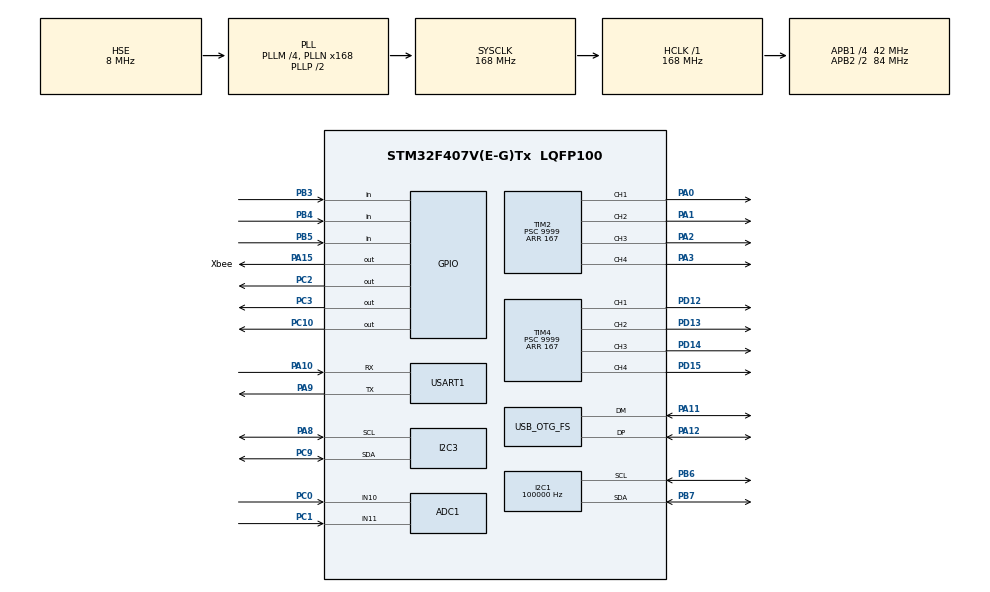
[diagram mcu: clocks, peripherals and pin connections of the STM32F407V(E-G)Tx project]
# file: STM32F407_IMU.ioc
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ADC1.Channel-0\#ChannelRegularConversion=ADC_CHANNEL_10
ADC1.Channel-1\#ChannelRegularConversion=ADC_CHANNEL_11
ADC1.ContinuousConvMode=ENABLE
ADC1.DMAContinuousRequests=ENABLE
ADC1.InjNumberOfConversion=0
ADC1.NbrOfConversion=2
ADC1.NbrOfConversionFlag=1
ADC1.Rank-0\#ChannelRegularConversion=1
ADC1.Rank-1\#ChannelRegularConversion=2
ADC1.SamplingTime-0\#ChannelRegularConversion=ADC_SAMPLETIME_3CYCLES
ADC1.SamplingTime-1\#ChannelRegularConversion=ADC_SAMPLETIME_3CYCLES
ADC1.ScanConvMode=ENABLE
ADC1.master=1
Dma.ADC1.0.Direction=DMA_PERIPH_TO_MEMORY
Dma.ADC1.0.FIFOMode=DMA_FIFOMODE_DISABLE
Dma.ADC1.0.Instance=DMA2_Stream0
Dma.ADC1.0.MemDataAlignment=DMA_MDATAALIGN_HALFWORD
Dma.ADC1.0.MemInc=DMA_MINC_ENABLE
Dma.ADC1.0.Mode=DMA_CIRCULAR
Dma.ADC1.0.PeriphDataAlignment=DMA_PDATAALIGN_HALFWORD
Dma.ADC1.0.PeriphInc=DMA_PINC_DISABLE
Dma.ADC1.0.Priority=DMA_PRIORITY_LOW
Dma.Request0=ADC1
I2C1.ClockSpeed=100000
I2C1.I2C_Mode=I2C_Standard
Mcu.Family=STM32F4
Mcu.Name=STM32F407V(E-G)Tx
Mcu.Package=LQFP100
NVIC.I2C1_EV_IRQn=true\:0\:0\:false\:false\:true\:true\:true\:true
NVIC.I2C3_EV_IRQn=true\:0\:0\:false\:false\:true\:true\:true\:true
NVIC.PriorityGroup=NVIC_PRIORITYGROUP_4
NVIC.USART1_IRQn=true\:0\:0\:true\:false\:true\:true\:true\:true
PA0-WKUP.Signal=S_TIM2_CH1_ETR
PA1.Signal=S_TIM2_CH2
PA10.Mode=Asynchronous
PA10.Signal=USART1_RX
PA11.Mode=Device_Only
PA11.Signal=USB_OTG_FS_DM
PA12.Mode=Device_Only
PA12.Signal=USB_OTG_FS_DP
PA13.Mode=Serial_Wire
PA13.Signal=SYS_JTMS-SWDIO
PA14.Mode=Serial_Wire
PA14.Signal=SYS_JTCK-SWCLK
PA15.GPIO_Label=Xbee
PA15.GPIO_PuPd=GPIO_PULLUP
PA15.GPIO_Speed=GPIO_SPEED_FREQ_HIGH
PA15.Signal=GPIO_Output
PA2.Signal=S_TIM2_CH3
PA3.Signal=S_TIM2_CH4
PA8.Mode=I2C
PA8.Signal=I2C3_SCL
PA9.Mode=Asynchronous
PA9.Signal=USART1_TX
PB3.Signal=GPIO_Input
PB4.Signal=GPIO_Input
PB5.Signal=GPIO_Input
PB6.Mode=I2C
PB6.Signal=I2C1_SCL
PB7.Mode=I2C
PB7.Signal=I2C1_SDA
PC0.Signal=ADCx_IN10
PC1.Signal=ADCx_IN11
PC10.GPIO_Speed=GPIO_SPEED_FREQ_LOW
PC10.Signal=GPIO_Output
PC14-OSC32_IN.Mode=LSE-External-Oscillator
PC14-OSC32_IN.Signal=RCC_OSC32_IN
PC15-OSC32_OUT.Mode=LSE-External-Oscillator
PC15-OSC32_OUT.Signal=RCC_OSC32_OUT
PC2.GPIO_Speed=GPIO_SPEED_FREQ_LOW
PC2.PinState=GPIO_PIN_RESET
PC2.Signal=GPIO_Output
PC3.GPIO_Speed=GPIO_SPEED_FREQ_LOW
PC3.PinState=GPIO_PIN_RESET
PC3.Signal=GPIO_Output
PC9.Mode=I2C
PC9.Signal=I2C3_SDA
PD12.Signal=S_TIM4_CH1
PD13.Signal=S_TIM4_CH2
PD14.Signal=S_TIM4_CH3
PD15.Signal=S_TIM4_CH4
PH0-OSC_IN.Mode=HSE-External-Oscillator
PH0-OSC_IN.Signal=RCC_OSC_IN
PH1-OSC_OUT.Mode=HSE-External-Oscillator
PH1-OSC_OUT.Signal=RCC_OSC_OUT
ProjectManager.HeapSize=0x200
ProjectManager.StackSize=0x400
ProjectManager.TargetToolchain=MDK-ARM V5
RCC.48MHZClocksFreq_Value=48000000
RCC.AHBFreq_Value=168000000
RCC.APB1CLKDivider=RCC_HCLK_DIV4
RCC.APB1Freq_Value=42000000
RCC.APB1TimFreq_Value=84000000
RCC.APB2CLKDivider=RCC_HCLK_DIV2
RCC.APB2Freq_Value=84000000
RCC.APB2TimFreq_Value=168000000
RCC.CortexFreq_Value=168000000
RCC.HCLKFreq_Value=168000000
RCC.HSE_VALUE=8000000
RCC.HSI_VALUE=16000000
RCC.PLLM=4
RCC.PLLN=168
RCC.PLLQ=7
RCC.SYSCLKFreq_VALUE=168000000
RCC.SYSCLKSource=RCC_SYSCLKSOURCE_PLLCLK
RCC.VCOOutputFreq_Value=336000000
SH.ADCx_IN10.0=ADC1_IN10,IN10
SH.ADCx_IN11.0=ADC1_IN11,IN11
SH.S_TIM2_CH1_ETR.0=TIM2_CH1,PWM Generation1 CH1
SH.S_TIM2_CH2.0=TIM2_CH2,PWM Generation2 CH2
SH.S_TIM2_CH3.0=TIM2_CH3,PWM Generation3 CH3
SH.S_TIM2_CH4.0=TIM2_CH4,PWM Generation4 CH4
SH.S_TIM4_CH1.0=TIM4_CH1,PWM Generation1 CH1
SH.S_TIM4_CH2.0=TIM4_CH2,PWM Generation2 CH2
SH.S_TIM4_CH3.0=TIM4_CH3,PWM Generation3 CH3
SH.S_TIM4_CH4.0=TIM4_CH4,PWM Generation4 CH4
TIM2.Channel-PWM\ Generation1\ CH1=TIM_CHANNEL_1
TIM2.Channel-PWM\ Generation2\ CH2=TIM_CHANNEL_2
TIM2.Channel-PWM\ Generation3\ CH3=TIM_CHANNEL_3
TIM2.Channel-PWM\ Generation4\ CH4=TIM_CHANNEL_4
TIM2.OCPolarity_1=TIM_OCPOLARITY_HIGH
TIM2.OCPolarity_2=TIM_OCPOLARITY_HIGH
TIM2.OCPolarity_3=TIM_OCPOLARITY_HIGH
TIM2.OCPolarity_4=TIM_OCPOLARITY_HIGH
TIM2.Period=167
TIM2.Prescaler=9999
TIM4.Channel-PWM\ Generation1\ CH1=TIM_CHANNEL_1
TIM4.Channel-PWM\ Generation2\ CH2=TIM_CHANNEL_2
TIM4.Channel-PWM\ Generation3\ CH3=TIM_CHANNEL_3
TIM4.Channel-PWM\ Generation4\ CH4=TIM_CHANNEL_4
TIM4.OCPolarity_1=TIM_OCPOLARITY_HIGH
TIM4.OCPolarity_2=TIM_OCPOLARITY_HIGH
TIM4.OCPolarity_3=TIM_OCPOLARITY_HIGH
TIM4.OCPolarity_4=TIM_OCPOLARITY_HIGH
TIM4.Period=167
TIM4.Prescaler=9999
USART1.OverSampling=UART_OVERSAMPLING_16
USART1.VirtualMode=VM_ASYNC
USB_OTG_FS.VirtualMode=Device_Only
VP_TIM2_VS_ClockSourceINT.Mode=Internal
VP_TIM4_VS_ClockSourceINT.Mode=Internal
board=custom

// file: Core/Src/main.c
/* USER CODE BEGIN Header */
/**
  ******************************************************************************
  * @file           : main.c
  * @brief          : Main program body
  ******************************************************************************
  * @attention
  *
  * Copyright (c) 2024 STMicroelectronics.
  * All rights reserved.sssssssssssssss
  *
  * This software is licensed under terms that can be found in the LICENSE file
  * in the root directory of this software component.
  * If no LICENSE file comes with this software, it is provided AS-IS.
  *
  ******************************************************************************
  */
/* USER CODE END Header */
#include "main.h"

/* USER CODE BEGIN Includes */
/*----------------------------------------------------------------------------
 * CMSIS-RTOS 'main' function template
 *---------------------------------------------------------------------------*/
#include "cmsis_os2.h"
#include "stdio.h"
#include "ms5611.h"
#include "ControlMotor.h"
#include "user_main_thread.h"
#include "user_IMU_thread.h"
/* USER CODE END Includes */

/* USER CODE BEGIN PM */
extern APPLICATION_ADC_INFO			app_adc_infor;
extern APPLICATION_SLAVE_INFO		app_slave_infor;
extern MS5611_t 								ms5611_1;
extern GY86_MPU6050_t 					MPU6050;
extern verticalState 						vertState;
/* USER CODE END PM */

ADC_HandleTypeDef hadc1;
DMA_HandleTypeDef hdma_adc1;

I2C_HandleTypeDef hi2c1;
I2C_HandleTypeDef hi2c3;

TIM_HandleTypeDef htim2;
TIM_HandleTypeDef htim4;

UART_HandleTypeDef huart1;

PCD_HandleTypeDef hpcd_USB_OTG_FS;

void SystemClock_Config(void);
static void MX_GPIO_Init(void);
static void MX_DMA_Init(void);
static void MX_ADC1_Init(void);
static void MX_I2C1_Init(void);
static void MX_I2C3_Init(void);
static void MX_TIM2_Init(void);
static void MX_TIM4_Init(void);
static void MX_USART1_UART_Init(void);
static void MX_USB_OTG_FS_PCD_Init(void);
/* USER CODE BEGIN PFP */
void Init_Config(void);
/* USER CODE END PFP */

/* USER CODE BEGIN 0 */
osThreadId_t task_main;
const osThreadAttr_t task_main_Attr = {
  .name = "task_main",
  .stack_size = 1024,
  .priority = (osPriority_t) osPriorityNormal,
};
osThreadId_t task_IMU;
const osThreadAttr_t task_IMU_Attr = {
  .name = "task_IMU",
  .stack_size = 1024,
  .priority = (osPriority_t) osPriorityNormal,
};
osThreadId_t task_Infor;
const osThreadAttr_t task_Infor_Attr = {
  .name = "task_Infor",
  .stack_size = 1024, // 512
  .priority = (osPriority_t) osPriorityNormal,
};

void App_main (void *argument) {
	for(;;)
	{
		if (app_adc_infor.startCalibMotor && app_slave_infor.motorCalibFlag != 2) // checkCalibSensorBeforeStartMotor(&MPU6050, &ms5611_1, &vertState)
		{
			app_slave_infor.motorCalibFlag = 1;
			Motor_Initization();
			app_slave_infor.motorCalibFlag = 2;
		}
		if (!app_adc_infor.startCalibMotor && app_adc_infor.startMotor)
		{
			Motor_GetDataAndProcessing(&vertState);
		}
	}
}

void IMU_process (void *argument) {
	for(;;)
	{
//			HAL_GPIO_WritePin(Xbee_GPIO_Port, Xbee_Pin, 0);
//			osDelay(5000);
			IMU_Initization();
			for(;;)
			{
				if (app_adc_infor.startCalibSensor && app_slave_infor.mpu6050CalibFlag != 2)  //  || app_slave_infor.hmc5883lCalibFlag != 2 || app_slave_infor.ms5611CalibFlag != 2 || app_slave_infor.vertVelCalibFlag != 2
				{
					IMU_Calibration(&vertState);
				}
				else if (!app_adc_infor.startCalibSensor && app_adc_infor.startSensor)
				{
					app_slave_infor.isStartSensorFlag = true;
					IMU_GetDataAndProcessing(&vertState);
				}
			}
	}
}
void Information_process (void *argument) {

	Infor_Initization();
	// Buzzer ON 200ms to test
//	Infor_SetBuzzerBeep(1,200);
	for(;;)
		{
			Infor_Processing();
		}
}
/* USER CODE END 0 */

int main(void)
{

  /* MCU Configuration--------------------------------------------------------*/

  /* Reset of all peripherals, Initializes the Flash interface and the Systick. */
  HAL_Init();

  /* Configure the system clock */
  SystemClock_Config();

  /* USER CODE BEGIN SysInit */
	#if 0
  /* USER CODE END SysInit */

  /* Initialize all configured peripherals */
  MX_GPIO_Init();
  MX_DMA_Init();
  MX_ADC1_Init();
  MX_I2C1_Init();
  MX_I2C3_Init();
  MX_TIM2_Init();
  MX_TIM4_Init();
  MX_USART1_UART_Init();
  MX_USB_OTG_FS_PCD_Init();

  /* Infinite loop */
  while (1)
  {

    /* USER CODE BEGIN 3 */
  }
		#endif
	SystemCoreClockUpdate();
	Init_Config();
	osKernelInitialize();                 						// Initialize CMSIS-RTOS
  task_main = osThreadNew(App_main, NULL, &task_main_Attr);    						// Create App_main thread
  task_IMU = osThreadNew(IMU_process, NULL, &task_IMU_Attr);    					// Create IMU_process thread
	task_Infor = osThreadNew(Information_process, NULL, &task_Infor_Attr);     // Create Information_process main thread
  osKernelStart();                      						// Start thread execution
  for (;;) {}
  /* USER CODE END 3 */
}

void SystemClock_Config(void)
{
  RCC_OscInitTypeDef RCC_OscInitStruct = {0};
  RCC_ClkInitTypeDef RCC_ClkInitStruct = {0};

  /** Configure the main internal regulator output voltage
  */
  __HAL_RCC_PWR_CLK_ENABLE();
  __HAL_PWR_VOLTAGESCALING_CONFIG(PWR_REGULATOR_VOLTAGE_SCALE1);

  /** Initializes the RCC Oscillators according to the specified parameters
  * in the RCC_OscInitTypeDef structure.
  */
  RCC_OscInitStruct.OscillatorType = RCC_OSCILLATORTYPE_HSE;
  RCC_OscInitStruct.HSEState = RCC_HSE_ON;
  RCC_OscInitStruct.PLL.PLLState = RCC_PLL_ON;
  RCC_OscInitStruct.PLL.PLLSource = RCC_PLLSOURCE_HSE;
  RCC_OscInitStruct.PLL.PLLM = 4;
  RCC_OscInitStruct.PLL.PLLN = 168;
  RCC_OscInitStruct.PLL.PLLP = RCC_PLLP_DIV2;
  RCC_OscInitStruct.PLL.PLLQ = 7;
  if (HAL_RCC_OscConfig(&RCC_OscInitStruct) != HAL_OK)
  {
    Error_Handler();
  }

  /** Initializes the CPU, AHB and APB buses clocks
  */
  RCC_ClkInitStruct.ClockType = RCC_CLOCKTYPE_HCLK|RCC_CLOCKTYPE_SYSCLK
                              |RCC_CLOCKTYPE_PCLK1|RCC_CLOCKTYPE_PCLK2;
  RCC_ClkInitStruct.SYSCLKSource = RCC_SYSCLKSOURCE_PLLCLK;
  RCC_ClkInitStruct.AHBCLKDivider = RCC_SYSCLK_DIV1;
  RCC_ClkInitStruct.APB1CLKDivider = RCC_HCLK_DIV4;
  RCC_ClkInitStruct.APB2CLKDivider = RCC_HCLK_DIV2;

  if (HAL_RCC_ClockConfig(&RCC_ClkInitStruct, FLASH_LATENCY_5) != HAL_OK)
  {
    Error_Handler();
  }
}

static void MX_ADC1_Init(void)
{

  ADC_ChannelConfTypeDef sConfig = {0};

  /** Configure the global features of the ADC (Clock, Resolution, Data Alignment and number of conversion)
  */
  hadc1.Instance = ADC1;
  hadc1.Init.ClockPrescaler = ADC_CLOCK_SYNC_PCLK_DIV4;
  hadc1.Init.Resolution = ADC_RESOLUTION_12B;
  hadc1.Init.ScanConvMode = ENABLE;
  hadc1.Init.ContinuousConvMode = ENABLE;
  hadc1.Init.DiscontinuousConvMode = DISABLE;
  hadc1.Init.ExternalTrigConvEdge = ADC_EXTERNALTRIGCONVEDGE_NONE;
  hadc1.Init.ExternalTrigConv = ADC_SOFTWARE_START;
  hadc1.Init.DataAlign = ADC_DATAALIGN_RIGHT;
  hadc1.Init.NbrOfConversion = 2;
  hadc1.Init.DMAContinuousRequests = DISABLE;
  hadc1.Init.EOCSelection = ADC_EOC_SINGLE_CONV;
  if (HAL_ADC_Init(&hadc1) != HAL_OK)
  {
    Error_Handler();
  }

  /** Configure for the selected ADC regular channel its corresponding rank in the sequencer and its sample time.
  */
  sConfig.Channel = ADC_CHANNEL_10;
  sConfig.Rank = 1;
  sConfig.SamplingTime = ADC_SAMPLETIME_3CYCLES;
  if (HAL_ADC_ConfigChannel(&hadc1, &sConfig) != HAL_OK)
  {
    Error_Handler();
  }

  /** Configure for the selected ADC regular channel its corresponding rank in the sequencer and its sample time.
  */
  sConfig.Channel = ADC_CHANNEL_11;
  sConfig.Rank = 2;
  if (HAL_ADC_ConfigChannel(&hadc1, &sConfig) != HAL_OK)
  {
    Error_Handler();
  }

}

static void MX_I2C1_Init(void)
{

  hi2c1.Instance = I2C1;
  hi2c1.Init.ClockSpeed = 100000;
  hi2c1.Init.DutyCycle = I2C_DUTYCYCLE_2;
  hi2c1.Init.OwnAddress1 = 0;
  hi2c1.Init.AddressingMode = I2C_ADDRESSINGMODE_7BIT;
  hi2c1.Init.DualAddressMode = I2C_DUALADDRESS_DISABLE;
  hi2c1.Init.OwnAddress2 = 0;
  hi2c1.Init.GeneralCallMode = I2C_GENERALCALL_DISABLE;
  hi2c1.Init.NoStretchMode = I2C_NOSTRETCH_DISABLE;
  if (HAL_I2C_Init(&hi2c1) != HAL_OK)
  {
    Error_Handler();
  }

}

static void MX_I2C3_Init(void)
{

  hi2c3.Instance = I2C3;
  hi2c3.Init.ClockSpeed = 100000;
  hi2c3.Init.DutyCycle = I2C_DUTYCYCLE_2;
  hi2c3.Init.OwnAddress1 = 0;
  hi2c3.Init.AddressingMode = I2C_ADDRESSINGMODE_7BIT;
  hi2c3.Init.DualAddressMode = I2C_DUALADDRESS_DISABLE;
  hi2c3.Init.OwnAddress2 = 0;
  hi2c3.Init.GeneralCallMode = I2C_GENERALCALL_DISABLE;
  hi2c3.Init.NoStretchMode = I2C_NOSTRETCH_DISABLE;
  if (HAL_I2C_Init(&hi2c3) != HAL_OK)
  {
    Error_Handler();
  }

}

static void MX_TIM2_Init(void)
{

  TIM_ClockConfigTypeDef sClockSourceConfig = {0};
  TIM_MasterConfigTypeDef sMasterConfig = {0};
  TIM_OC_InitTypeDef sConfigOC = {0};

  htim2.Instance = TIM2;
  htim2.Init.Prescaler = 9999;
  htim2.Init.CounterMode = TIM_COUNTERMODE_UP;
  htim2.Init.Period = 167;
  htim2.Init.ClockDivision = TIM_CLOCKDIVISION_DIV1;
  htim2.Init.AutoReloadPreload = TIM_AUTORELOAD_PRELOAD_DISABLE;
  if (HAL_TIM_Base_Init(&htim2) != HAL_OK)
  {
    Error_Handler();
  }
  sClockSourceConfig.ClockSource = TIM_CLOCKSOURCE_INTERNAL;
  if (HAL_TIM_ConfigClockSource(&htim2, &sClockSourceConfig) != HAL_OK)
  {
    Error_Handler();
  }
  if (HAL_TIM_PWM_Init(&htim2) != HAL_OK)
  {
    Error_Handler();
  }
  sMasterConfig.MasterOutputTrigger = TIM_TRGO_RESET;
  sMasterConfig.MasterSlaveMode = TIM_MASTERSLAVEMODE_DISABLE;
  if (HAL_TIMEx_MasterConfigSynchronization(&htim2, &sMasterConfig) != HAL_OK)
  {
    Error_Handler();
  }
  sConfigOC.OCMode = TIM_OCMODE_PWM1;
  sConfigOC.Pulse = 0;
  sConfigOC.OCPolarity = TIM_OCPOLARITY_HIGH;
  sConfigOC.OCFastMode = TIM_OCFAST_DISABLE;
  if (HAL_TIM_PWM_ConfigChannel(&htim2, &sConfigOC, TIM_CHANNEL_1) != HAL_OK)
  {
    Error_Handler();
  }
  if (HAL_TIM_PWM_ConfigChannel(&htim2, &sConfigOC, TIM_CHANNEL_2) != HAL_OK)
  {
    Error_Handler();
  }
  if (HAL_TIM_PWM_ConfigChannel(&htim2, &sConfigOC, TIM_CHANNEL_3) != HAL_OK)
  {
    Error_Handler();
  }
  if (HAL_TIM_PWM_ConfigChannel(&htim2, &sConfigOC, TIM_CHANNEL_4) != HAL_OK)
  {
    Error_Handler();
  }
  HAL_TIM_MspPostInit(&htim2);

}

static void MX_TIM4_Init(void)
{

  TIM_ClockConfigTypeDef sClockSourceConfig = {0};
  TIM_MasterConfigTypeDef sMasterConfig = {0};
  TIM_OC_InitTypeDef sConfigOC = {0};

  htim4.Instance = TIM4;
  htim4.Init.Prescaler = 9999;
  htim4.Init.CounterMode = TIM_COUNTERMODE_UP;
  htim4.Init.Period = 167;
  htim4.Init.ClockDivision = TIM_CLOCKDIVISION_DIV1;
  htim4.Init.AutoReloadPreload = TIM_AUTORELOAD_PRELOAD_DISABLE;
  if (HAL_TIM_Base_Init(&htim4) != HAL_OK)
  {
    Error_Handler();
  }
  sClockSourceConfig.ClockSource = TIM_CLOCKSOURCE_INTERNAL;
  if (HAL_TIM_ConfigClockSource(&htim4, &sClockSourceConfig) != HAL_OK)
  {
    Error_Handler();
  }
  if (HAL_TIM_PWM_Init(&htim4) != HAL_OK)
  {
    Error_Handler();
  }
  sMasterConfig.MasterOutputTrigger = TIM_TRGO_RESET;
  sMasterConfig.MasterSlaveMode = TIM_MASTERSLAVEMODE_DISABLE;
  if (HAL_TIMEx_MasterConfigSynchronization(&htim4, &sMasterConfig) != HAL_OK)
  {
    Error_Handler();
  }
  sConfigOC.OCMode = TIM_OCMODE_PWM1;
  sConfigOC.Pulse = 0;
  sConfigOC.OCPolarity = TIM_OCPOLARITY_HIGH;
  sConfigOC.OCFastMode = TIM_OCFAST_DISABLE;
  if (HAL_TIM_PWM_ConfigChannel(&htim4, &sConfigOC, TIM_CHANNEL_1) != HAL_OK)
  {
    Error_Handler();
  }
  if (HAL_TIM_PWM_ConfigChannel(&htim4, &sConfigOC, TIM_CHANNEL_2) != HAL_OK)
  {
    Error_Handler();
  }
  if (HAL_TIM_PWM_ConfigChannel(&htim4, &sConfigOC, TIM_CHANNEL_3) != HAL_OK)
  {
    Error_Handler();
  }
  if (HAL_TIM_PWM_ConfigChannel(&htim4, &sConfigOC, TIM_CHANNEL_4) != HAL_OK)
  {
    Error_Handler();
  }
  HAL_TIM_MspPostInit(&htim4);

}

static void MX_USART1_UART_Init(void)
{

  huart1.Instance = USART1;
  huart1.Init.BaudRate = 115200;
  huart1.Init.WordLength = UART_WORDLENGTH_8B;
  huart1.Init.StopBits = UART_STOPBITS_1;
  huart1.Init.Parity = UART_PARITY_NONE;
  huart1.Init.Mode = UART_MODE_TX_RX;
  huart1.Init.HwFlowCtl = UART_HWCONTROL_NONE;
  huart1.Init.OverSampling = UART_OVERSAMPLING_16;
  if (HAL_UART_Init(&huart1) != HAL_OK)
  {
    Error_Handler();
  }

}

static void MX_USB_OTG_FS_PCD_Init(void)
{

  hpcd_USB_OTG_FS.Instance = USB_OTG_FS;
  hpcd_USB_OTG_FS.Init.dev_endpoints = 4;
  hpcd_USB_OTG_FS.Init.speed = PCD_SPEED_FULL;
  hpcd_USB_OTG_FS.Init.dma_enable = DISABLE;
  hpcd_USB_OTG_FS.Init.phy_itface = PCD_PHY_EMBEDDED;
  hpcd_USB_OTG_FS.Init.Sof_enable = DISABLE;
  hpcd_USB_OTG_FS.Init.low_power_enable = DISABLE;
  hpcd_USB_OTG_FS.Init.lpm_enable = DISABLE;
  hpcd_USB_OTG_FS.Init.vbus_sensing_enable = DISABLE;
  hpcd_USB_OTG_FS.Init.use_dedicated_ep1 = DISABLE;
  if (HAL_PCD_Init(&hpcd_USB_OTG_FS) != HAL_OK)
  {
    Error_Handler();
  }

}

static void MX_DMA_Init(void)
{

  /* DMA controller clock enable */
  __HAL_RCC_DMA2_CLK_ENABLE();

  /* DMA interrupt init */
  /* DMA2_Stream0_IRQn interrupt configuration */
//  HAL_NVIC_SetPriority(DMA2_Stream0_IRQn, 0, 0);
//  HAL_NVIC_EnableIRQ(DMA2_Stream0_IRQn);

}

static void MX_GPIO_Init(void)
{
  GPIO_InitTypeDef GPIO_InitStruct = {0};

  /* GPIO Ports Clock Enable */
  __HAL_RCC_GPIOC_CLK_ENABLE();
  __HAL_RCC_GPIOH_CLK_ENABLE();
  __HAL_RCC_GPIOA_CLK_ENABLE();
  __HAL_RCC_GPIOD_CLK_ENABLE();
  __HAL_RCC_GPIOB_CLK_ENABLE();

  /*Configure GPIO pin Output Level */
  HAL_GPIO_WritePin(GPIOC, GPIO_PIN_2|GPIO_PIN_3|GPIO_PIN_10, GPIO_PIN_RESET);

  /*Configure GPIO pin Output Level */
  HAL_GPIO_WritePin(Xbee_GPIO_Port, Xbee_Pin, GPIO_PIN_RESET);

  /*Configure GPIO pins : PC2 PC3 PC10 */
  GPIO_InitStruct.Pin = GPIO_PIN_2|GPIO_PIN_3|GPIO_PIN_10;
  GPIO_InitStruct.Mode = GPIO_MODE_OUTPUT_PP;
  GPIO_InitStruct.Pull = GPIO_NOPULL;
  GPIO_InitStruct.Speed = GPIO_SPEED_FREQ_LOW;
  HAL_GPIO_Init(GPIOC, &GPIO_InitStruct);

  /*Configure GPIO pin : Xbee_Pin */
  GPIO_InitStruct.Pin = Xbee_Pin;
  GPIO_InitStruct.Mode = GPIO_MODE_OUTPUT_PP;
  GPIO_InitStruct.Pull = GPIO_NOPULL;
  GPIO_InitStruct.Speed = GPIO_SPEED_FREQ_LOW;
  HAL_GPIO_Init(Xbee_GPIO_Port, &GPIO_InitStruct);

  /*Configure GPIO pins : PB3 PB4 PB5 */
  GPIO_InitStruct.Pin = GPIO_PIN_3|GPIO_PIN_4|GPIO_PIN_5;
  GPIO_InitStruct.Mode = GPIO_MODE_INPUT;
  GPIO_InitStruct.Pull = GPIO_NOPULL;
  HAL_GPIO_Init(GPIOB, &GPIO_InitStruct);

}

/* USER CODE BEGIN 4 */
void Init_Config(void)
{
	MX_GPIO_Init();
	MX_DMA_Init();
  MX_ADC1_Init();
  MX_I2C1_Init();
//	MX_I2C3_Init();
  MX_TIM2_Init();
  MX_TIM4_Init();
  MX_USART1_UART_Init();

	// Turn on xbee
	//HAL_GPIO_WritePin(Xbee_GPIO_Port, Xbee_Pin, 1);

  //MX_USB_OTG_FS_PCD_Init();
}

void ApplicationError(char * message)
{
	while(1)
		{
			//Infor_SetBuzzerBeep(1,200);
			HAL_GPIO_TogglePin(GPIOC, GPIO_PIN_3);
			osDelay(1000);
		}
}

/* USER CODE END 4 */

void Error_Handler(void)
{
  __disable_irq();
  while (1)
  {
  }
}
